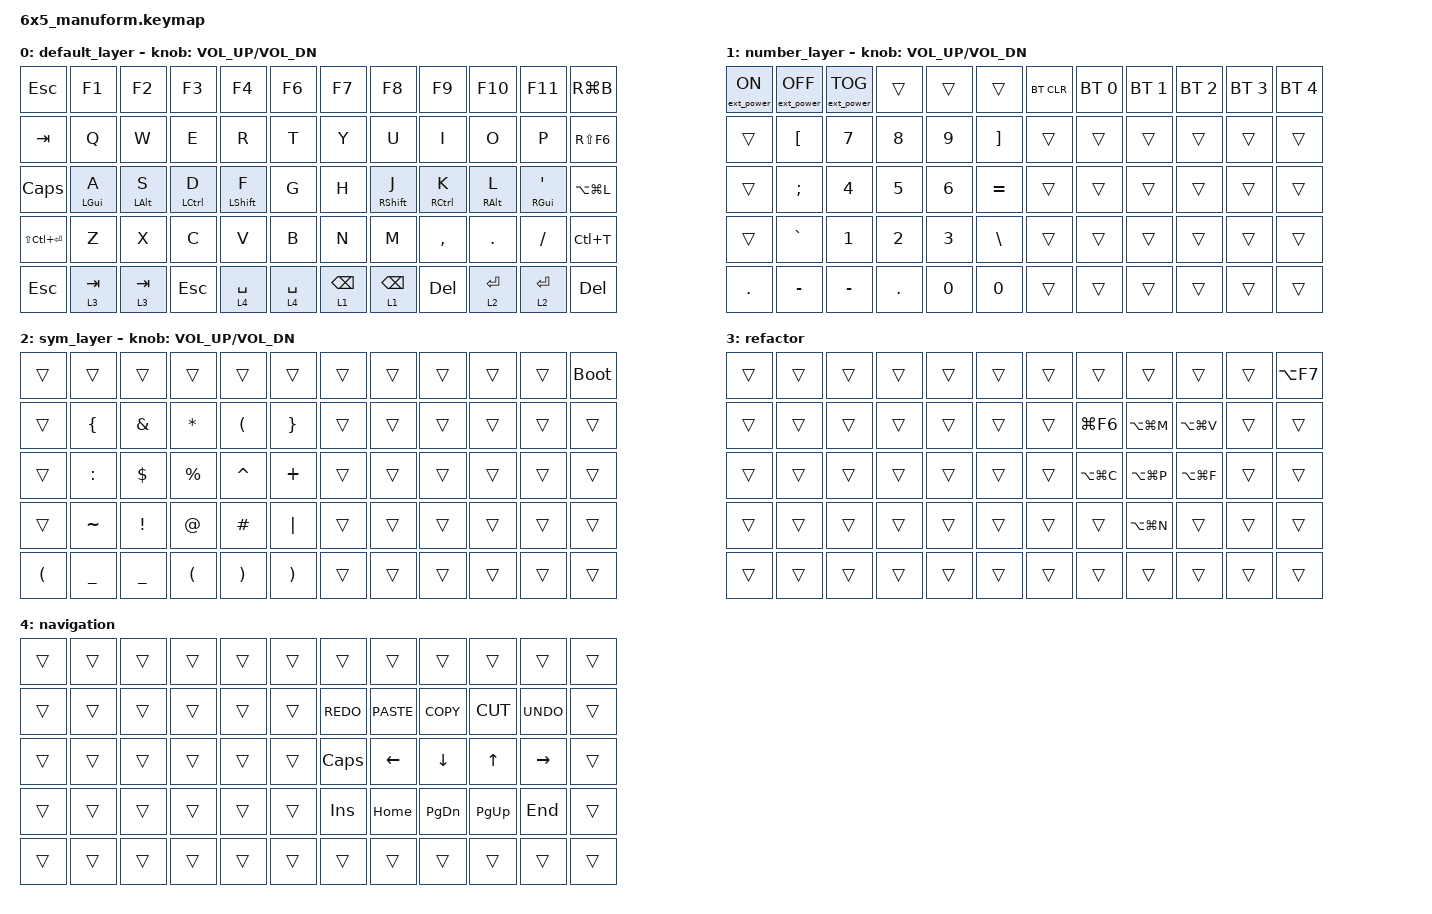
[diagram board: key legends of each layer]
/*
 * Copyright (c) 2020 The ZMK Contributors
 *
 * SPDX-License-Identifier: MIT
 */

#include <behaviors.dtsi>
#include <dt-bindings/zmk/keys.h>
#include <dt-bindings/zmk/ext_power.h>
#include <dt-bindings/zmk/bt.h>

/ {
    behaviors {
		/omit-if-no-ref/ lt: behavior_layer_tap {
			compatible = "zmk,behavior-hold-tap";
			label = "LAYER_TAP";
			#binding-cells = <2>;
			flavor = "tap-preferred";
			tapping-term-ms = <150>;
			bindings = <&mo>, <&kp>;
		};
	};

    behaviors {
		/omit-if-no-ref/ mt: behavior_mod_tap {
			compatible = "zmk,behavior-hold-tap";
			label = "MOD_TAP";
			#binding-cells = <2>;
			flavor = "hold-preferred";
			tapping-term-ms = <150>;
			bindings = <&kp>, <&kp>;
		};
	};

    keymap {
        compatible = "zmk,keymap";

        default_layer {
            // ------------------------------------------------------------------------------------------------------------
            // |  ESC   |  1  |  2  |  3   |  4   |  5   |                    |  6   |  7    |  8    |  9   |   0   |   `   |
            // |  TAB   |  Q  |  W  |  E   |  R   |  T   |                    |  Y   |  U    |  I    |  O   |   P   |   -   |
            // |  CTRL  |  A  |  S  |  D   |  F   |  G   |                    |  H   |  J    |  K    |  L   |   ;   |   '   |
            // | SHIFT  |  Z  |  X  |  C   |  V   |  B   |                    |  N   |  M    |  ,    |  .   |   /   | SHIFT |
            // |    2   |  2  | f   | 6    | 4    | 1    |                    | 2    | 1     | w     | s    | n     |  a    |

            bindings = <
           &kp ESC          &kp F1          &kp F2       &kp F3            &kp F4       &kp F6           &kp F7             &kp F8       &kp F9          &kp F10             &kp F11      &kp RG(B)
           &kp TAB           &kp Q           &kp W        &kp E             &kp R        &kp T            &kp Y              &kp U        &kp I            &kp O               &kp P     &kp RS(F6)
          &kp CAPS  &mt LEFT_GUI A  &mt LEFT_ALT S  &mt LCTRL D  &mt LEFT_SHIFT F        &kp G            &kp H  &mt RIGHT_SHIFT J  &mt RCTRL K  &mt RIGHT_ALT L  &mt RIGHT_GUI APOS  &kp LA(LG(L))
 &kp LS(LC(ENTER))           &kp Z           &kp X        &kp C             &kp V        &kp B            &kp N              &kp M    &kp COMMA          &kp DOT            &kp FSLH      &kp LC(T)
           &kp ESC       &lt 3 TAB       &lt 3 TAB      &kp ESC       &lt 4 SPACE  &lt 4 SPACE  &lt 1 BACKSPACE    &lt 1 BACKSPACE      &kp DEL      &lt 2 ENTER         &lt 2 ENTER        &kp DEL
            >;

            sensor-bindings = <&inc_dec_kp C_VOL_UP C_VOL_DN>;
        };

        number_layer {
            // ------------------------------------------------------------------------------------------------------------
            // | BTCLR | BT1 | BT2 |  BT3 |  BT4 |  BT5 |                   |      |       |       |      |       |       |
            // |  F1   |  F2 |  F3 |  F4  |  F5  |  F6  |                   |  F7  |  F8   |  F9   |  F10 |  F11  |  F12  |
            // |   `   |  !  |  @  |  #   |  $   |  %   |                   |  ^   |  &    |  *    |  (   |   )   |   ~   |
            // |       |     |     |      |      |      |                   |      |  _    |  +    |  {   |   }   |  "|"  |
            // |       |     |     |      |      |      |                   |      |       |       |      |       |       |

            bindings = <
 &ext_power EP_ON  &ext_power EP_OFF  &ext_power EP_TOG   &trans        &trans             &trans  &bt BT_CLR  &bt BT_SEL 0  &bt BT_SEL 1  &bt BT_SEL 2  &bt BT_SEL 3  &bt BT_SEL 4
           &trans   &kp LEFT_BRACKET             &kp N7   &kp N8        &kp N9  &kp RIGHT_BRACKET      &trans        &trans        &trans        &trans        &trans        &trans
           &trans           &kp SEMI             &kp N4   &kp N5        &kp N6          &kp EQUAL      &trans        &trans        &trans        &trans        &trans        &trans
           &trans          &kp GRAVE             &kp N1   &kp N2        &kp N3      &kp BACKSLASH      &trans        &trans        &trans        &trans        &trans        &trans
          &kp DOT          &kp MINUS          &kp MINUS  &kp DOT  &kp NUMBER_0             &kp N0      &trans        &trans        &trans        &trans        &trans        &trans
            >;

            sensor-bindings = <&inc_dec_kp C_VOL_UP C_VOL_DN>;
        };

        sym_layer {
            // ------------------------------------------------------------------------------------------------------------
            // |       |     |     |      |      |      |                   |      |       |       |      |       |       |
            // |   `   |  1  |  2  |  3   |  4   |  5   |                   |  6   |   7   |   8   |  9   |   0   |       |
            // |   F1  |  F2 |  F3 |  F4  |  F5  |  F6  |                   |      |   <-  |   v   |  ^   |  ->   |       |
            // |   F7  |  F8 |  F9 |  F10 |  F11 |  F12 |		             |  +   |   -   |   =   |  [   |   ]   |   \   |
            // |     |     |      |      |      |        |                   |       |      |       |       |      |       |

            bindings = <
               &trans          &trans      &trans                &trans                 &trans                 &trans  &trans  &trans  &trans  &trans  &trans  &bootloader
               &trans  &kp LEFT_BRACE    &kp AMPS              &kp STAR   &kp LEFT_PARENTHESIS        &kp RIGHT_BRACE  &trans  &trans  &trans  &trans  &trans       &trans
               &trans       &kp COLON  &kp DOLLAR           &kp PERCENT              &kp CARET               &kp PLUS  &trans  &trans  &trans  &trans  &trans       &trans
               &trans       &kp TILDE    &kp EXCL                &kp AT              &kp POUND               &kp PIPE  &trans  &trans  &trans  &trans  &trans       &trans
 &kp LEFT_PARENTHESIS       &kp UNDER   &kp UNDER  &kp LEFT_PARENTHESIS  &kp RIGHT_PARENTHESIS  &kp RIGHT_PARENTHESIS  &trans  &trans  &trans  &trans  &trans       &trans
            >;

            sensor-bindings = <&inc_dec_kp C_VOL_UP C_VOL_DN>;
        };

        refactor {
            bindings = <
 &trans  &trans  &trans  &trans  &trans  &trans  &trans         &trans         &trans         &trans  &trans  &kp LA(F7)
 &trans  &trans  &trans  &trans  &trans  &trans  &trans     &kp LG(F6)  &kp LA(LG(M))  &kp LA(LG(V))  &trans      &trans
 &trans  &trans  &trans  &trans  &trans  &trans  &trans  &kp LA(LG(C))  &kp LA(LG(P))  &kp LA(LG(F))  &trans      &trans
 &trans  &trans  &trans  &trans  &trans  &trans  &trans         &trans  &kp LA(LG(N))         &trans  &trans      &trans
 &trans  &trans  &trans  &trans  &trans  &trans  &trans         &trans         &trans         &trans  &trans      &trans
            >;
        };

        navigation {
            bindings = <
 &trans  &trans  &trans  &trans  &trans  &trans      &trans       &trans         &trans       &trans      &trans  &trans
 &trans  &trans  &trans  &trans  &trans  &trans  &kp K_REDO  &kp K_PASTE     &kp K_COPY    &kp K_CUT  &kp K_UNDO  &trans
 &trans  &trans  &trans  &trans  &trans  &trans    &kp CAPS     &kp LEFT       &kp DOWN       &kp UP   &kp RIGHT  &trans
 &trans  &trans  &trans  &trans  &trans  &trans  &kp INSERT     &kp HOME  &kp PAGE_DOWN  &kp PAGE_UP     &kp END  &trans
 &trans  &trans  &trans  &trans  &trans  &trans      &trans       &trans         &trans       &trans      &trans  &trans
            >;
        };
    };
};
